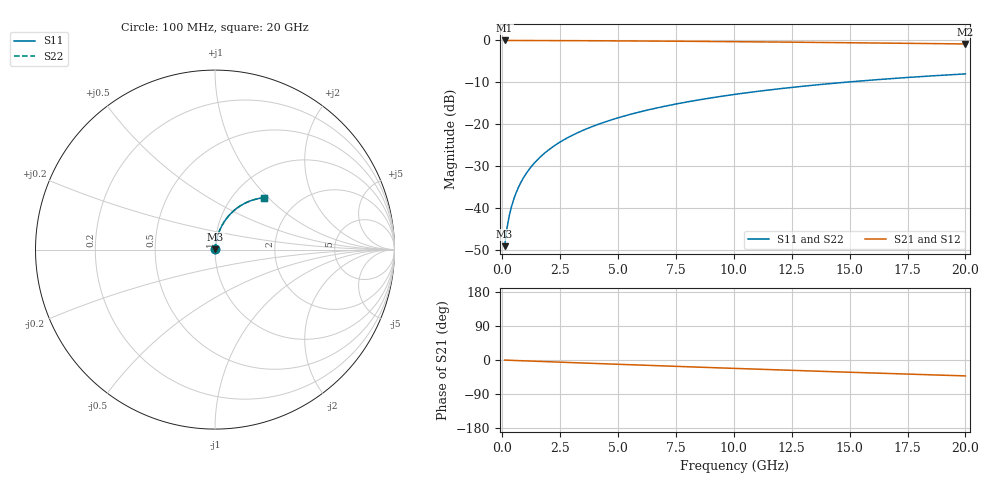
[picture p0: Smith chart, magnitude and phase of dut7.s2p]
! Touchstone file exported from HFSS 2026.1.0
!  File:  C:/ffzhzh/LocalFiles/Ansys_Project_Files/temp_test_BSMRDL_7_1782907317_43084.aedt
!  Generated:  08:03:17 PM Jul  1, 2026
!  Design:  BSMRDL
!  Project:  temp_test_BSMRDL_7_1782907317_43084
! Variables:
!  h_bsmrdl = 5.98um
!  h_ox = 20um
!  h_rdl = 5um
!  h_sub = 80um
!  h_tmrdl = 5um
!  h_tsv = 80um
!  h_via = 3um
!  l_bsmrdl = 617.01um
!  l_sub = 1017.01um
!  l_tmrdl = 200um
!  m_sub = 200um
!  pitch = 45.14um
!  r_tsv = 6um
!  s_tmrdl = 10um
!  w_bsmrdl = 16.42um
!  w_sub = 500um
!  w_tmrdl = 12um
!  x_tsv_center1 = 206um
!  x_tsv_center2 = 839.43um
!  x_tsv_center3 = 1051.43um
!  x_tsv_center4 = 1684.86um
!  x_tsv_center5 = 1896.86um
!  x_tsv_center6 = 2530.29um
# GHz S MA R 50.000000
! Terminal data exported
! Port[1] = BSM_RDL1_1_T1
! Port[2] = BSM_RDL1_1_T2
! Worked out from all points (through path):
!   200 points, 100 MHz to 20 GHz, reference 50 ohm
!   highest |S21| = -0.02 dB at 100 MHz (marker M1); lowest = -0.9 dB at 20 GHz (marker M2)
!   group delay of S21, straight-line fit = 5.83 ps
!   lowest |S11| = -49.1 dB at 100 MHz (marker M3), VSWR 1.01, Z = 50.2 + j0.262 ohm
!   |S11| at or under -10 dB: start of sweep to 14.8 GHz
!   |S22| runs from -49.1 to -8.0 dB; largest |S21 - S12| = 3.4e-15
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0.1  0.003501 48.1  0.9977 -0.2  0.9977 -0.2  0.003501 48.1
! Gamma 0 0 0 0
! Port Impedance 50 0 50 0
0.2  0.005699 64.3  0.9976 -0.5  0.9976 -0.5  0.005699 64.3
0.3  0.008042 71.0  0.9974 -0.7  0.9974 -0.7  0.008042 71.0
0.4  0.01043 74.7  0.9974 -0.9  0.9974 -0.9  0.01043 74.7
0.5  0.01284 76.9  0.9973 -1.2  0.9973 -1.2  0.01284 76.9
0.7  0.01769 79.4  0.9971 -1.6  0.9971 -1.6  0.01769 79.4
0.8  0.02013 80.2  0.997 -1.9  0.997 -1.9  0.02013 80.1
1  0.02502 81.0  0.9968 -2.3  0.9968 -2.3  0.02502 81.0
1.2  0.0299 81.4  0.9965 -2.8  0.9965 -2.8  0.0299 81.4
1.4  0.03478 81.5  0.9962 -3.2  0.9962 -3.2  0.03478 81.5
1.7  0.04206 81.5  0.9957 -3.9  0.9957 -3.9  0.04206 81.4
2  0.04931 81.2  0.9952 -4.6  0.9952 -4.6  0.04931 81.2
2.7  0.06602 80.1  0.9936 -6.2  0.9936 -6.2  0.06602 80.1
3.5  0.08479 78.6  0.9915 -8.0  0.9915 -8.0  0.08479 78.6
4.2  0.1009 77.3  0.9894 -9.6  0.9894 -9.6  0.1009 77.3
5  0.1191 75.7  0.9867 -11.3  0.9867 -11.3  0.1191 75.7
6.8  0.1589 72.1  0.98 -15.3  0.98 -15.3  0.1589 72.1
8.3  0.191 69.1  0.9735 -18.5  0.9735 -18.5  0.191 69.0
10.1  0.228 65.5  0.9649 -22.3  0.9649 -22.3  0.228 65.4
13.4  0.2913 59.0  0.9468 -29.1  0.9468 -29.1  0.2913 58.9
16.7  0.3481 52.6  0.9269 -35.7  0.9269 -35.7  0.3481 52.6
20  0.398 46.5  0.9064 -42.0  0.9064 -42.0  0.398 46.4
